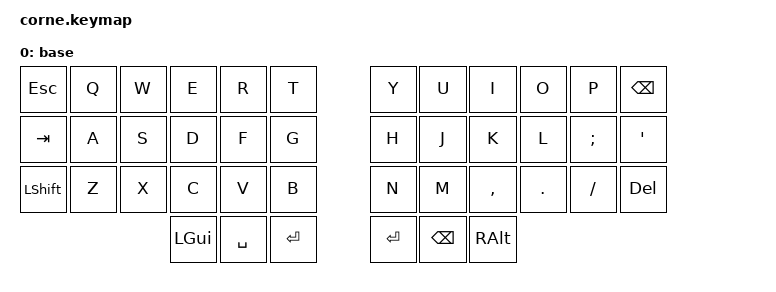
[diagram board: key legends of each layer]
#include <behaviors.dtsi>
#include <dt-bindings/zmk/keys.h>

/ {
  keymap {
    compatible = "zmk,keymap";

    base {
      bindings = <
        // Row 1 (L)                         // Row 1 (R)
        &kp ESC  &kp Q &kp W &kp E &kp R &kp T    &kp Y &kp U &kp I &kp O &kp P &kp BSPC

        // Row 2 (L)                         // Row 2 (R)
        &kp TAB  &kp A &kp S &kp D &kp F &kp G    &kp H &kp J &kp K &kp L &kp SEMI &kp SQT

        // Row 3 (L)                         // Row 3 (R)
        &kp LSHFT &kp Z &kp X &kp C &kp V &kp B   &kp N &kp M &kp COMMA &kp DOT &kp SLASH &kp DEL

        // Thumbs: 3 left                                // Thumbs: 3 right
                   &kp LGUI  &kp SPACE  &kp ENTER        &kp ENTER &kp BSPC  &kp RALT
      >;
    };
  };
};
